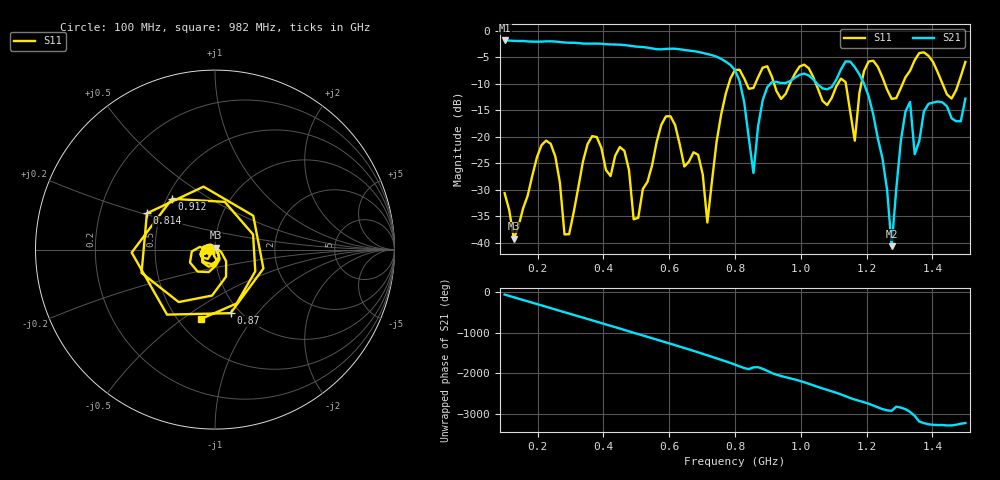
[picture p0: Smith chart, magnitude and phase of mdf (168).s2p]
! NanoVNA-App
! Date: 2025-09-26 09:41:02
! Start: 100MHz Stop: 1,5GHz Points: 101
! S-Parameter data: F S11 S21 S12 S22
# Hz S RI R 50
!  Frequency  S11_Real  S11_Imag  S21_Real  S21_Imag  S12_Real  S12_Imag  S22_Real  S22_Imag
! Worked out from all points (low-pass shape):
!   101 points, 100 MHz to 1.5 GHz, reference 50 ohm
!   highest |S21| = -1.79 dB at 100 MHz (marker M1); lowest = -40.6 dB at 1.276 GHz (marker M2)
!   |S21| within 3 dB of the highest: start of sweep to 740.6 MHz
!   lowest |S11| = -39.2 dB at 128 MHz (marker M3), VSWR 1.02, Z = 50.3 + j1.06 ohm
!   |S11| at or under -10 dB: start of sweep to 781 MHz; 1.046 GHz to 1.112 GHz (65.98 MHz wide, 6.11 % of centre); 1.256 GHz to 1.309 GHz (53.65 MHz wide, 4.18 % of centre)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
!   S12 and S22 are empty: the file has one direction only
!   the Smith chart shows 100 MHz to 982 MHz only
!   S11 on the Smith chart (normalised r, x): 100 MHz: 0.94, -0.01; 814 MHz: 0.42, +0.21; 870 MHz: 0.90, -0.74; 912 MHz: 0.53, +0.35; 982 MHz: 0.64, -0.59
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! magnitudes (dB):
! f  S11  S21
! 100 MHz  -30.6  -1.8
! 128 MHz  -39.2  -1.9
! 212 MHz  -21.6  -2.0
! 282 MHz  -38.4  -2.2
! 338 MHz  -24.7  -2.4
! 464 MHz  -22.6  -2.7
! 506 MHz  -35.3  -3.0
! 576 MHz  -17.7  -3.5
! 716 MHz  -36.2  -4.3
! 800 MHz  -7.3  -7.4
! 814 MHz  -7.3  -9.5
! 856 MHz  -10.8  -26.8
! 870 MHz  -8.8  -18.1
! 912 MHz  -8.6  -9.7
! 982 MHz  -8.1  -8.8
! 1.038 GHz  -8.7  -9.2
! 1.164 GHz  -20.7  -6.8
! 1.192 GHz  -7.6  -9.9
! 1.276 GHz  -12.8  -40.6
! 1.332 GHz  -7.5  -13.4
! 1.346 GHz  -5.5  -23.3
! 1.5 GHz  -5.8  -12.8
